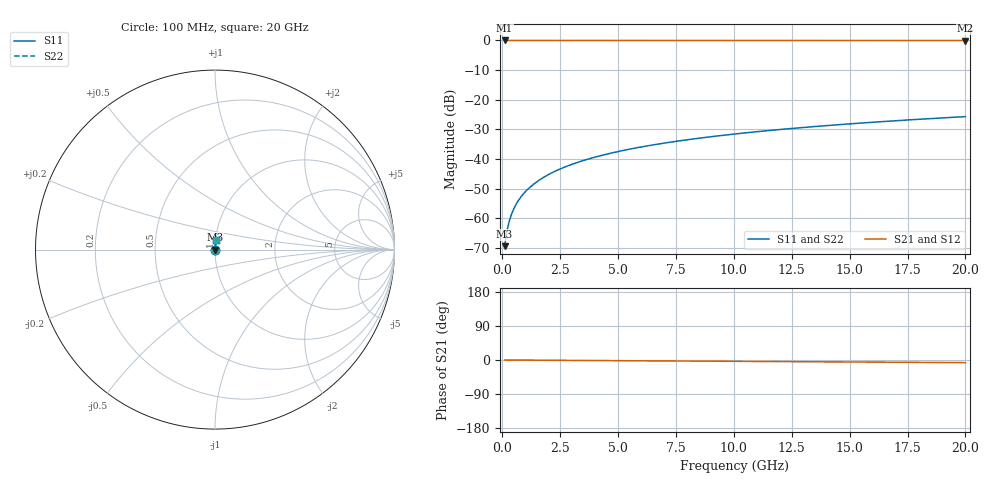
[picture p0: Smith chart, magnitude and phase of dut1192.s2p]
! Touchstone file exported from HFSS 2026.1.0
!  File:  C:/ffzhzh/LocalFiles/Ansys_Project_Files/temp_train_TSV_1192_1783192435_43440.aedt
!  Generated:  03:15:36 AM Jul  5, 2026
!  Design:  TSV
!  Project:  temp_train_TSV_1192_1783192435_43440
! Variables:
!  h_bsmrdl = 2um
!  h_ox = 20um
!  h_rdl = 5um
!  h_sub = 56.09um
!  h_tmrdl = 5um
!  h_tsv = 56.09um
!  h_via = 3um
!  l_bsmrdl = 300um
!  l_sub = 413.98um
!  l_tmrdl = 200um
!  m_sub = 200um
!  pitch = 50.93um
!  r_tsv = 6.99um
!  s_tmrdl = 10um
!  w_bsmrdl = 18um
!  w_sub = 500um
!  w_tmrdl = 12um
!  x_tsv_center1 = 206um
!  x_tsv_center2 = 524um
!  x_tsv_center3 = 736um
!  x_tsv_center4 = 1054um
!  x_tsv_center5 = 1266um
!  x_tsv_center6 = 1584um
# GHz S MA R 50.000000
! Terminal data exported
! Port[1] = TSV1_1_T1
! Port[2] = TSV1_1_T2
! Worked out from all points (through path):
!   200 points, 100 MHz to 20 GHz, reference 50 ohm
!   highest |S21| = 0.00 dB at 100 MHz (marker M1); lowest = 0.0 dB at 20 GHz (marker M2)
!   lowest |S11| = -69.4 dB at 100 MHz (marker M3), VSWR 1.00, Z = 50 + j0.0293 ohm
!   |S11| at or under -10 dB: start of sweep to end of sweep
!   |S22| runs from -69.4 to -25.7 dB; largest |S21 - S12| = 3.2e-15
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0.1  0.000337 60.4  0.9998 -0.0  0.9998 -0.0  0.000337 60.4
! Gamma 0 0 0 0
! Port Impedance 50 0 50 0
0.2  0.0006097 73.3  0.9998 -0.1  0.9998 -0.1  0.0006097 73.3
0.3  0.000892 77.8  0.9998 -0.1  0.9998 -0.1  0.000892 77.8
0.4  0.001174 79.9  0.9998 -0.1  0.9998 -0.1  0.001174 79.9
0.5  0.001453 81.1  0.9998 -0.2  0.9998 -0.2  0.001453 81.1
0.6  0.001729 81.9  0.9998 -0.2  0.9998 -0.2  0.001729 81.9
0.7  0.002002 82.5  0.9997 -0.3  0.9997 -0.3  0.002002 82.5
0.8  0.002272 82.9  0.9997 -0.3  0.9997 -0.3  0.002272 82.9
1  0.002809 83.6  0.9997 -0.4  0.9997 -0.4  0.002809 83.6
1.4  0.003872 84.4  0.9996 -0.5  0.9996 -0.5  0.003872 84.4
1.7  0.004666 84.9  0.9996 -0.6  0.9996 -0.6  0.004666 84.9
2  0.005459 85.2  0.9996 -0.7  0.9996 -0.7  0.005459 85.2
2.7  0.007306 85.6  0.9995 -1.0  0.9995 -1.0  0.007306 85.6
3.5  0.009411 85.7  0.9995 -1.2  0.9995 -1.2  0.009411 85.7
4.2  0.01124 85.7  0.9994 -1.5  0.9994 -1.5  0.01124 85.7
5  0.01333 85.7  0.9993 -1.8  0.9993 -1.8  0.01333 85.7
6.8  0.01801 85.4  0.9991 -2.4  0.9991 -2.4  0.01801 85.4
8.3  0.02188 85.1  0.999 -2.9  0.999 -2.9  0.02188 85.1
10.1  0.02652 84.6  0.9988 -3.5  0.9988 -3.5  0.02652 84.6
13.4  0.03499 83.7  0.9984 -4.7  0.9984 -4.7  0.03499 83.7
16.7  0.04343 82.7  0.998 -5.8  0.998 -5.8  0.04343 82.7
20  0.05181 81.7  0.9974 -6.9  0.9974 -6.9  0.05181 81.7
